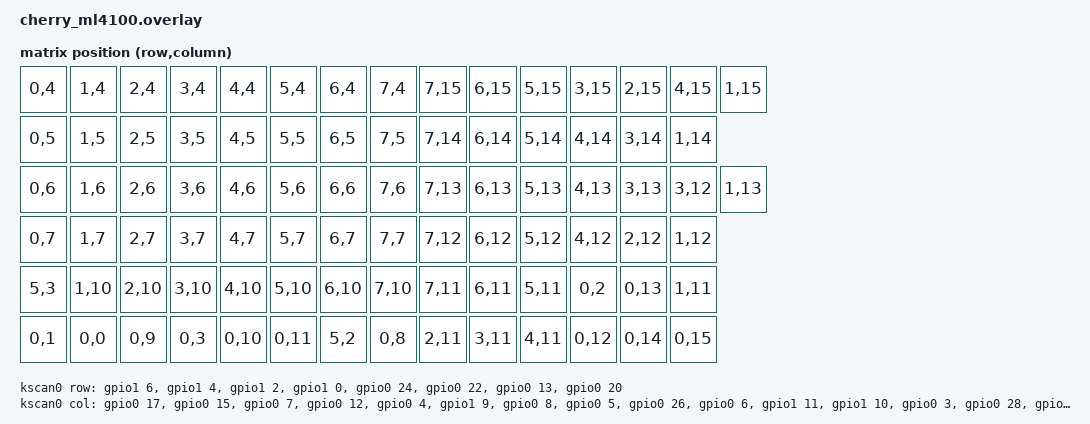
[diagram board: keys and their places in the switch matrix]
#include <dt-bindings/zmk/matrix_transform.h>
#include <dt-bindings/zmk/hid_indicators.h>
#include "cherry_ml4100-layouts.dtsi"

/ {
    chosen {
        zmk,battery = &vbatt;
        zmk,kscan = &kscan0;
        zmk,physical_layout = &physical_layout0;
    };

    kscan0: kscan {
        compatible = "zmk,kscan-gpio-matrix";
        diode-direction = "row2col";
        wakeup-source;

        col-gpios
            = <&gpio0 17 (GPIO_ACTIVE_HIGH | GPIO_PULL_DOWN)>    // KB_FN    <- old COL5
            , <&gpio0 15 (GPIO_ACTIVE_HIGH | GPIO_PULL_DOWN)>    // KB_CTRL  <- old KB_WINL
            , <&gpio0  7 (GPIO_ACTIVE_HIGH | GPIO_PULL_DOWN)>    // KB_SFTL  <- old KB_WINR
            , <&gpio0 12 (GPIO_ACTIVE_HIGH | GPIO_PULL_DOWN)>    // KB_SFTR  <- old COL4
            , <&gpio0  4 (GPIO_ACTIVE_HIGH | GPIO_PULL_DOWN)>    // COL1     <- old COL3
            , <&gpio1  9 (GPIO_ACTIVE_HIGH | GPIO_PULL_DOWN)>    // COL2     <- old COL2
            , <&gpio0  8 (GPIO_ACTIVE_HIGH | GPIO_PULL_DOWN)>    // COL3     <- old COL1
            , <&gpio0  5 (GPIO_ACTIVE_HIGH | GPIO_PULL_DOWN)>    // COL4     <- old KB_SFTR
            , <&gpio0 26 (GPIO_ACTIVE_HIGH | GPIO_PULL_DOWN)>    // KB_WINL  <- old KB_CTRL
            , <&gpio0  6 (GPIO_ACTIVE_HIGH | GPIO_PULL_DOWN)>    // KB_WINR  <- old KB_SFTL
            , <&gpio1 11 (GPIO_ACTIVE_HIGH | GPIO_PULL_DOWN)>    // COL5     <- old KB_FN
            , <&gpio1 10 (GPIO_ACTIVE_HIGH | GPIO_PULL_DOWN)>    // COL6     <- old ROW8
            , <&gpio0  3 (GPIO_ACTIVE_HIGH | GPIO_PULL_DOWN)>    // COL7     <- old ROW7
            , <&gpio0 28 (GPIO_ACTIVE_HIGH | GPIO_PULL_DOWN)>    // COL8     <- old ROW6
            , <&gpio0 31 (GPIO_ACTIVE_HIGH | GPIO_PULL_DOWN)>    // COL9     <- old ROW2
            , <&gpio0 30 (GPIO_ACTIVE_HIGH | GPIO_PULL_DOWN)>    // COL10    <- old ROW1
            ;

        row-gpios
            = <&gpio1  6 GPIO_OPEN_SOURCE>    // ROW1 <- old COL10
            , <&gpio1  4 GPIO_OPEN_SOURCE>    // ROW2 <- old COL9
            , <&gpio1  2 GPIO_OPEN_SOURCE>                         // ROW3 <- old LED3
            , <&gpio1  0 GPIO_OPEN_SOURCE>                        // ROW4 <- old LED2
            , <&gpio0 24 GPIO_OPEN_SOURCE>                        // ROW5 <- old LED1
            , <&gpio0 22 GPIO_OPEN_SOURCE>    // ROW6 <- old COL8
            , <&gpio0 13 GPIO_OPEN_SOURCE>    // ROW7 <- old COL7
            , <&gpio0 20 GPIO_OPEN_SOURCE>    // ROW8 <- old COL6
            ;
    };

    default_transform: matrix_transform {
        compatible = "zmk,matrix-transform";
        columns = <16>;
        rows = <8>;
        map = <
            RC(0,4)  RC(1,4)  RC(2,4)  RC(3,4)  RC(4,4)  RC(5,4)  RC(6,4)  RC(7,4)  RC(7,15)  RC(6,15)  RC(5,15)  RC(3,15)  RC(2,15)  RC(4,15)  RC(1,15)
            RC(0,5)  RC(1,5)  RC(2,5)  RC(3,5)  RC(4,5)  RC(5,5)  RC(6,5)  RC(7,5)  RC(7,14)  RC(6,14)  RC(5,14)  RC(4,14)  RC(3,14)  RC(1,14)
            RC(0,6)  RC(1,6)  RC(2,6)  RC(3,6)  RC(4,6)  RC(5,6)  RC(6,6)  RC(7,6)  RC(7,13)  RC(6,13)  RC(5,13)  RC(4,13)  RC(3,13)  RC(3,12)  RC(1,13)
            RC(0,7)  RC(1,7)  RC(2,7)  RC(3,7)  RC(4,7)  RC(5,7)  RC(6,7)  RC(7,7)  RC(7,12)  RC(6,12)  RC(5,12)  RC(4,12)  RC(2,12)  RC(1,12)
            RC(5,3)  RC(1,10) RC(2,10) RC(3,10) RC(4,10) RC(5,10) RC(6,10) RC(7,10) RC(7,11)  RC(6,11)  RC(5,11)  RC(0,2)   RC(0,13)  RC(1,11)
            RC(0,1)  RC(0,0)  RC(0,9)  RC(0,3)  RC(0,10) RC(0,11) RC(5,2)  RC(0,8)  RC(2,11)  RC(3,11)  RC(4,11)  RC(0,12)  RC(0,14)  RC(0,15)
        >;
    };

    vbatt: vbatt {
        compatible = "zmk,battery-nrf-vddh";
    };

    leds {
        compatible = "gpio-leds";

        num_lock_led: num_lock_led {
            gpios = <&gpio1 13 GPIO_ACTIVE_LOW>;    // LED1 <- old ROW5
        };

        caps_lock_led: caps_lock_led {
            gpios = <&gpio0 2 GPIO_ACTIVE_LOW>;
        };

        scroll_lock_led: scroll_lock_led {
            gpios = <&gpio0 29 GPIO_ACTIVE_LOW>;    // LED3 <- old ROW3
        };
    };

    indicators {
        compatible = "zmk,indicator-leds";

        caps_lock_indicator: caps_lock {
            indicator = <HID_INDICATOR_CAPS_LOCK>;
            leds = <&caps_lock_led>;
        };

        scroll_lock_indicator: scroll_lock {
            indicator = <HID_INDICATOR_SCROLL_LOCK>;
            leds = <&scroll_lock_led>;
        };
    };

    aliases {
        indicator-led = &num_lock_led;
    };
};
